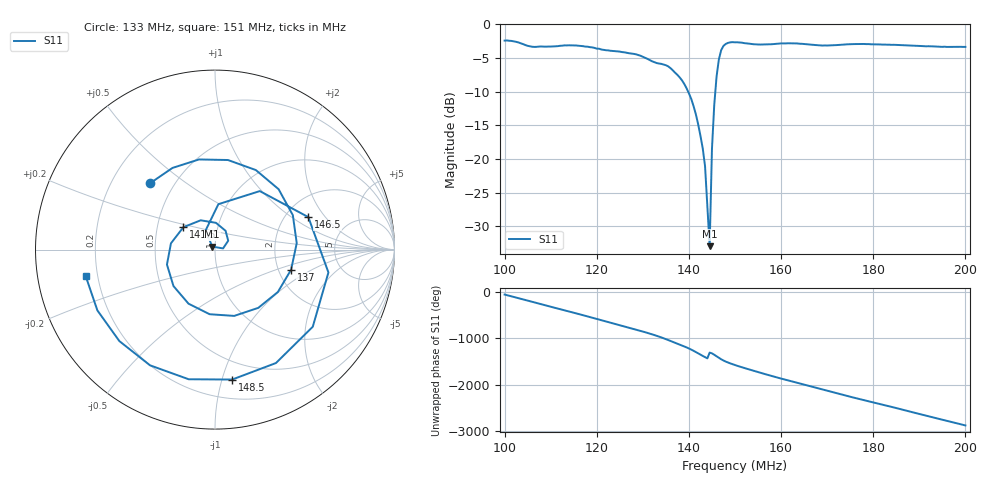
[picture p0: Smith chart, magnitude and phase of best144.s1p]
#  HZ  S  RI  R  50.00
! Rohde & Schwarz ZVA40 2Ports - Version 3.12 - 1145.1110k40 SN: 100360
! Date: 2019-07-29 15:56:28
! Measurement: S11
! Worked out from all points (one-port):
!   201 points, 100 MHz to 200 MHz, reference 50 ohm
!   lowest |S11| = -32.9 dB at 144.5 MHz (marker M1), VSWR 1.05, Z = 48.5 + j1.61 ohm
!   |S11| at or under -10 dB: 139.8 MHz to 145.7 MHz (5.884 MHz wide, 4.12 % of centre)
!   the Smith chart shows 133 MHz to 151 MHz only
!   S11 on the Smith chart (normalised r, x): 133 MHz: 0.37, +0.37; 137 MHz: 2.35, -0.65; 141.5 MHz: 0.68, +0.18; 146.5 MHz: 2.65, +1.38; 148.5 MHz: 0.35, -1.08; 151 MHz: 0.15, -0.10
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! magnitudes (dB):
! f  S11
! 100 MHz  -2.4
! 106 MHz  -3.3
! 112.5 MHz  -3.2
! 125 MHz  -4.0
! 129 MHz  -4.5
! 133 MHz  -5.7
! 135.5 MHz  -6.2
! 137 MHz  -7.2
! 137.5 MHz  -7.5
! 139.5 MHz  -9.5
! 140.5 MHz  -11.0
! 141.5 MHz  -13.3
! 143 MHz  -18.4
! 143.5 MHz  -21.0
! 144.5 MHz  -32.9
! 145 MHz  -18.5
! 145.5 MHz  -11.9
! 146 MHz  -7.7
! 146.5 MHz  -5.2
! 147 MHz  -3.8
! 147.5 MHz  -3.2
! 148.5 MHz  -2.7
! 150 MHz  -2.6
! 151 MHz  -2.7
! 162.5 MHz  -2.8
! 175 MHz  -2.9
! 187.5 MHz  -3.1
! 200 MHz  -3.3
